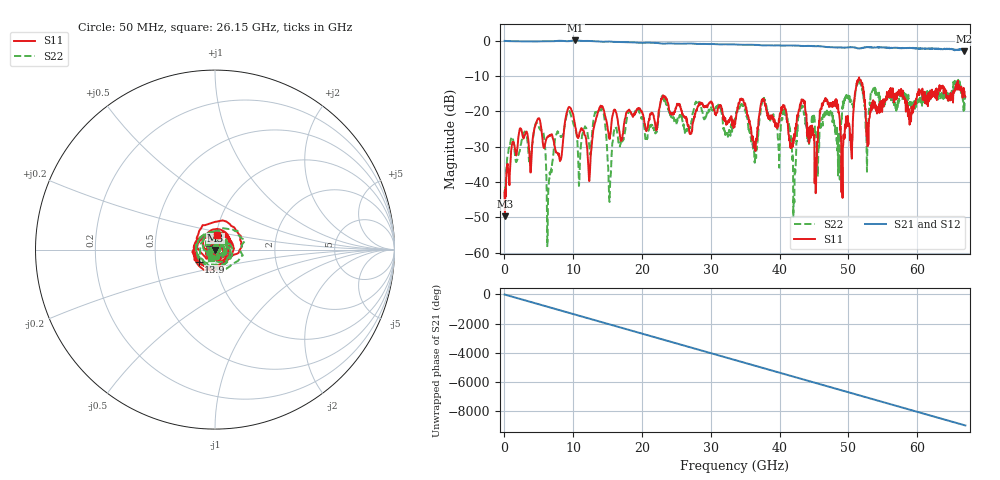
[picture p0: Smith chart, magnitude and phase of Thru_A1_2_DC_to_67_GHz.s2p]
#  HZ  S  MA  R  50.00
! Rohde & Schwarz ZVA67 4Ports - Version 4.11 - 1305.7002k04 SN: 101051
! Date: 2023-05-31 11:07:16
! Measurements: S11 S21 S12 S22
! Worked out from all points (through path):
!   1340 points, 50 MHz to 67 GHz, reference 50 ohm
!   highest |S21| = 0.12 dB at 10.3 GHz (marker M1); lowest = -3.0 dB at 66.85 GHz (marker M2)
!   group delay of S21, straight-line fit = 373 ps
!   lowest |S11| = -49.7 dB at 100 MHz (marker M3), VSWR 1.01, Z = 50.2 - j0.232 ohm
!   |S11| at or under -10 dB: start of sweep to end of sweep
!   |S22| runs from -58.2 to -10.9 dB; largest |S21 - S12| = 0.018
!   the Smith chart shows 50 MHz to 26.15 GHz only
!   S11 on the Smith chart (normalised r, x): 50 MHz: 1.01, +0.01; 13.9 GHz: 0.83, -0.11; 26.15 GHz: 1.01, +0.17
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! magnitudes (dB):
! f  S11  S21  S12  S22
! 50 MHz  -43.1  0.0  0.0  -42.3
! 100 MHz  -49.7  0.0  0.0  -48.6
! 2.35 GHz  -24.8  -0.1  -0.1  -30.1
! 5.45 GHz  -26.0  -0.1  -0.1  -25.2
! 6.4 GHz  -27.2  -0.1  -0.1  -42.4
! 7.65 GHz  -31.8  0.0  0.0  -26.2
! 10.3 GHz  -24.1  0.1  0.2  -24.6
! 11.25 GHz  -24.8  0.0  0.0  -27.3
! 12.4 GHz  -38.6  0.0  0.0  -30.6
! 13.9 GHz  -18.9  -0.2  -0.2  -19.7
! 15.3 GHz  -27.8  -0.2  -0.2  -45.7
! 18.1 GHz  -19.8  -0.4  -0.4  -20.2
! 22.4 GHz  -20.8  -0.6  -0.6  -21.8
! 26.15 GHz  -21.6  -0.8  -0.8  -25.5
! 33.55 GHz  -23.5  -1.0  -1.0  -22.0
! 40.75 GHz  -19.0  -1.4  -1.3  -20.2
! 42.1 GHz  -26.4  -1.3  -1.3  -44.4
! 43 GHz  -18.4  -1.4  -1.4  -19.7
! 44.7 GHz  -24.0  -1.5  -1.5  -21.5
! 55.85 GHz  -16.0  -1.9  -1.9  -15.9
! 66.85 GHz  -14.2  -3.0  -3.0  -19.6
! 67 GHz  -15.9  -2.8  -2.7  -17.1
